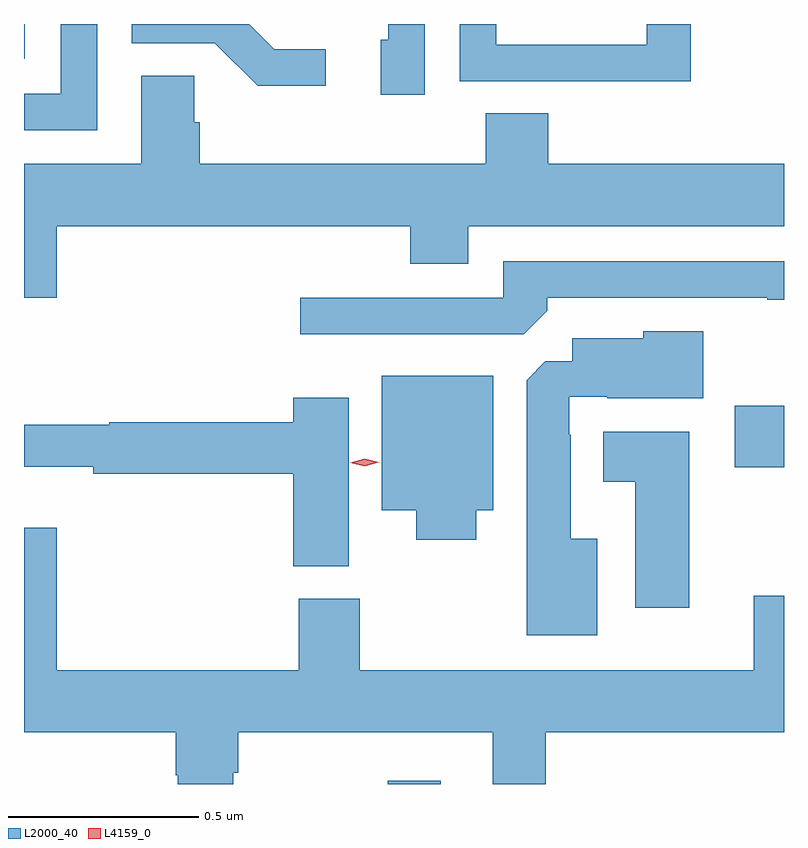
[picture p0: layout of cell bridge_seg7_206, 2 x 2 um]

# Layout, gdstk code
import gdstk
lib = gdstk.Library(unit=1e-6, precision=1e-09)
def R(c, l, rs):  # rectangles x0, y0, x1, y1
    for r in rs: c.add(gdstk.rectangle(r[:2], r[2:], *l))
def P(c, l, *ps):  # polygons
    for p in ps: c.add(gdstk.Polygon(p, *l))
L2000_40 = (2000, 40)
L4159_0 = (4159, 0)

bridge_seg7_206 = lib.new_cell('bridge_seg7_206')
R(bridge_seg7_206, L2000_40, [(118.091,1025.788,118.231,1025.797), (119.004,1026.622,119.134,1026.784), (117.134,1027.697,117.136,1027.788)])
P(bridge_seg7_206, L2000_40, [(117.928,1027.722),(117.793,1027.722),(117.727,1027.788),(117.417,1027.788),(117.417,1027.737),(117.636,1027.737),(117.749,1027.625),(117.928,1027.625)],
  [(118.889,1027.788),(118.773,1027.788),(118.773,1027.734),(118.377,1027.734),(118.377,1027.788),(118.281,1027.788),(118.281,1027.638),(118.597,1027.638),(118.597,1027.637),(118.889,1027.637)],
  [(118.188,1027.788),(118.092,1027.788),(118.092,1027.746),(118.073,1027.746),(118.073,1027.602),(118.188,1027.602)],
  [(117.327,1027.788),(117.231,1027.788),(117.231,1027.605),(117.134,1027.605),(117.134,1027.509),(117.327,1027.509)],
  [(117.22,1027.256),(118.151,1027.256),(118.151,1027.157),(118.303,1027.157),(118.303,1027.256),(119.134,1027.256),(119.134,1027.42),(118.514,1027.42),(118.514,1027.553),(118.349,1027.553),(118.349,1027.42),(117.596,1027.42),(117.596,1027.529),(117.582,1027.529),(117.582,1027.652),(117.443,1027.652),(117.443,1027.42),(117.134,1027.42),(117.134,1027.068),(117.22,1027.068)],
  [(118.511,1027.034),(118.511,1027.068),(119.09,1027.068),(119.09,1027.063),(119.134,1027.063),(119.134,1027.164),(118.395,1027.164),(118.395,1027.068),(117.861,1027.068),(117.861,1026.972),(118.449,1026.972)],
  [(118.642,1026.433),(118.573,1026.433),(118.573,1026.707),(118.569,1026.707),(118.569,1026.807),(118.669,1026.807),(118.669,1026.803),(118.921,1026.803),(118.921,1026.979),(118.764,1026.979),(118.764,1026.961),(118.577,1026.961),(118.577,1026.9),(118.506,1026.9),(118.457,1026.851),(118.457,1026.179),(118.642,1026.179)],
  [(118.324,1026.509),(118.369,1026.509),(118.369,1026.862),(118.076,1026.862),(118.076,1026.509),(118.166,1026.509),(118.166,1026.431),(118.324,1026.431)],
  [(117.988,1026.805),(117.842,1026.805),(117.842,1026.74),(117.358,1026.74),(117.358,1026.733),(117.134,1026.733),(117.134,1026.623),(117.316,1026.623),(117.316,1026.604),(117.842,1026.604),(117.842,1026.361),(117.988,1026.361)],
  [(118.885,1026.715),(118.658,1026.715),(118.658,1026.584),(118.742,1026.584),(118.742,1026.252),(118.885,1026.252)],
  [(117.685,1025.818),(117.698,1025.818),(117.698,1025.924),(118.367,1025.924),(118.367,1025.788),(118.507,1025.788),(118.507,1025.924),(119.134,1025.924),(119.134,1026.283),(119.054,1026.283),(119.054,1026.088),(118.017,1026.088),(118.017,1026.276),(117.857,1026.276),(117.857,1026.088),(117.22,1026.088),(117.22,1026.463),(117.134,1026.463),(117.134,1025.924),(117.533,1025.924),(117.533,1025.811),(117.538,1025.811),(117.538,1025.788),(117.685,1025.788)])
P(bridge_seg7_206, L4159_0, [(118.031,1026.624),(117.993,1026.634),(117.993,1026.634),(117.993,1026.634),(118.031,1026.644),(118.068,1026.635),(118.069,1026.635),(118.068,1026.635)])

lib.write_gds('bridge_seg7_206.gds')
